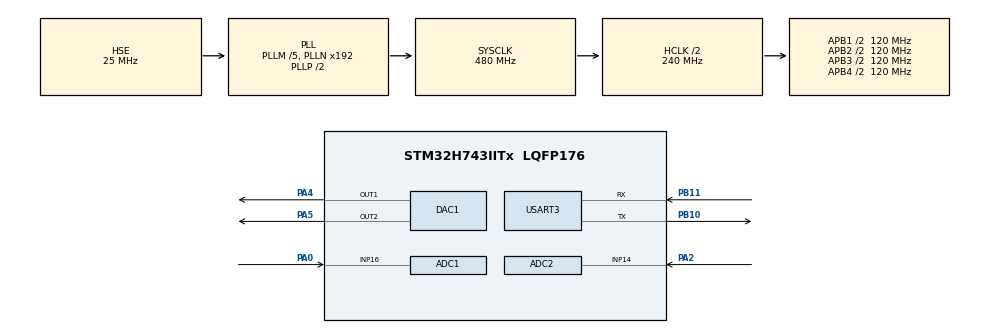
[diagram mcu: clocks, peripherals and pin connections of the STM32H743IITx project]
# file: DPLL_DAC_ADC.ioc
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ADC1.Channel-0\#ChannelRegularConversion=ADC_CHANNEL_16
ADC1.ConversionDataManagement=ADC_CONVERSIONDATA_DMA_ONESHOT
ADC1.ExternalTrigConv=ADC_EXTERNALTRIG_T3_TRGO
ADC1.NbrOfConversionFlag=1
ADC1.OffsetNumber-0\#ChannelRegularConversion=ADC_OFFSET_NONE
ADC1.OffsetSignedSaturation-0\#ChannelRegularConversion=DISABLE
ADC1.Rank-0\#ChannelRegularConversion=1
ADC1.SamplingTime-0\#ChannelRegularConversion=ADC_SAMPLETIME_1CYCLE_5
ADC1.master=1
ADC2.Channel-0\#ChannelRegularConversion=ADC_CHANNEL_14
ADC2.ConversionDataManagement=ADC_CONVERSIONDATA_DMA_ONESHOT
ADC2.ExternalTrigConv=ADC_EXTERNALTRIG_T3_TRGO
ADC2.NbrOfConversionFlag=1
ADC2.OffsetNumber-0\#ChannelRegularConversion=ADC_OFFSET_NONE
ADC2.OffsetSignedSaturation-0\#ChannelRegularConversion=DISABLE
ADC2.Rank-0\#ChannelRegularConversion=1
ADC2.SamplingTime-0\#ChannelRegularConversion=ADC_SAMPLETIME_1CYCLE_5
DAC1.DAC1_OutputBuffer-DAC_OUT1=DAC_OUTPUTBUFFER_DISABLE
DAC1.DAC2_OutputBuffer-DAC_OUT2=DAC_OUTPUTBUFFER_DISABLE
DAC1.DAC_Channel-DAC_OUT1=DAC_CHANNEL_1
DAC1.DAC_Channel-DAC_OUT2=DAC_CHANNEL_2
DAC1.DAC_Trigger-DAC_OUT1=DAC_TRIGGER_T4_TRGO
DAC1.DAC_Trigger-DAC_OUT2=DAC_TRIGGER_T4_TRGO
Dma.ADC1.0.Direction=DMA_PERIPH_TO_MEMORY
Dma.ADC1.0.EventEnable=DISABLE
Dma.ADC1.0.FIFOMode=DMA_FIFOMODE_DISABLE
Dma.ADC1.0.Instance=DMA1_Stream0
Dma.ADC1.0.MemDataAlignment=DMA_MDATAALIGN_HALFWORD
Dma.ADC1.0.MemInc=DMA_MINC_ENABLE
Dma.ADC1.0.Mode=DMA_NORMAL
Dma.ADC1.0.PeriphDataAlignment=DMA_PDATAALIGN_HALFWORD
Dma.ADC1.0.PeriphInc=DMA_PINC_DISABLE
Dma.ADC1.0.Polarity=HAL_DMAMUX_REQ_GEN_RISING
Dma.ADC1.0.Priority=DMA_PRIORITY_LOW
Dma.ADC1.0.RequestNumber=1
Dma.ADC1.0.SignalID=NONE
Dma.ADC1.0.SyncEnable=DISABLE
Dma.ADC1.0.SyncPolarity=HAL_DMAMUX_SYNC_NO_EVENT
Dma.ADC1.0.SyncRequestNumber=1
Dma.ADC1.0.SyncSignalID=NONE
Dma.ADC2.3.Direction=DMA_PERIPH_TO_MEMORY
Dma.ADC2.3.EventEnable=DISABLE
Dma.ADC2.3.FIFOMode=DMA_FIFOMODE_DISABLE
Dma.ADC2.3.Instance=DMA1_Stream2
Dma.ADC2.3.MemDataAlignment=DMA_MDATAALIGN_HALFWORD
Dma.ADC2.3.MemInc=DMA_MINC_ENABLE
Dma.ADC2.3.Mode=DMA_NORMAL
Dma.ADC2.3.PeriphDataAlignment=DMA_PDATAALIGN_HALFWORD
Dma.ADC2.3.PeriphInc=DMA_PINC_DISABLE
Dma.ADC2.3.Polarity=HAL_DMAMUX_REQ_GEN_RISING
Dma.ADC2.3.Priority=DMA_PRIORITY_LOW
Dma.ADC2.3.RequestNumber=1
Dma.ADC2.3.SignalID=NONE
Dma.ADC2.3.SyncEnable=DISABLE
Dma.ADC2.3.SyncPolarity=HAL_DMAMUX_SYNC_NO_EVENT
Dma.ADC2.3.SyncRequestNumber=1
Dma.ADC2.3.SyncSignalID=NONE
Dma.DAC1_CH1.1.Direction=DMA_MEMORY_TO_PERIPH
Dma.DAC1_CH1.1.EventEnable=DISABLE
Dma.DAC1_CH1.1.FIFOMode=DMA_FIFOMODE_DISABLE
Dma.DAC1_CH1.1.Instance=DMA1_Stream1
Dma.DAC1_CH1.1.MemDataAlignment=DMA_MDATAALIGN_HALFWORD
Dma.DAC1_CH1.1.MemInc=DMA_MINC_ENABLE
Dma.DAC1_CH1.1.Mode=DMA_CIRCULAR
Dma.DAC1_CH1.1.PeriphDataAlignment=DMA_PDATAALIGN_HALFWORD
Dma.DAC1_CH1.1.PeriphInc=DMA_PINC_DISABLE
Dma.DAC1_CH1.1.Polarity=HAL_DMAMUX_REQ_GEN_RISING
Dma.DAC1_CH1.1.Priority=DMA_PRIORITY_LOW
Dma.DAC1_CH1.1.RequestNumber=1
Dma.DAC1_CH1.1.SignalID=NONE
Dma.DAC1_CH1.1.SyncEnable=DISABLE
Dma.DAC1_CH1.1.SyncPolarity=HAL_DMAMUX_SYNC_NO_EVENT
Dma.DAC1_CH1.1.SyncRequestNumber=1
Dma.DAC1_CH1.1.SyncSignalID=NONE
Dma.DAC1_CH2.2.Direction=DMA_MEMORY_TO_PERIPH
Dma.DAC1_CH2.2.EventEnable=DISABLE
Dma.DAC1_CH2.2.FIFOMode=DMA_FIFOMODE_DISABLE
Dma.DAC1_CH2.2.Instance=DMA2_Stream1
Dma.DAC1_CH2.2.MemDataAlignment=DMA_MDATAALIGN_HALFWORD
Dma.DAC1_CH2.2.MemInc=DMA_MINC_ENABLE
Dma.DAC1_CH2.2.Mode=DMA_CIRCULAR
Dma.DAC1_CH2.2.PeriphDataAlignment=DMA_PDATAALIGN_HALFWORD
Dma.DAC1_CH2.2.PeriphInc=DMA_PINC_DISABLE
Dma.DAC1_CH2.2.Polarity=HAL_DMAMUX_REQ_GEN_RISING
Dma.DAC1_CH2.2.Priority=DMA_PRIORITY_LOW
Dma.DAC1_CH2.2.RequestNumber=1
Dma.DAC1_CH2.2.SignalID=NONE
Dma.DAC1_CH2.2.SyncEnable=DISABLE
Dma.DAC1_CH2.2.SyncPolarity=HAL_DMAMUX_SYNC_NO_EVENT
Dma.DAC1_CH2.2.SyncRequestNumber=1
Dma.DAC1_CH2.2.SyncSignalID=NONE
Dma.Request0=ADC1
Dma.Request1=DAC1_CH1
Dma.Request2=DAC1_CH2
Dma.Request3=ADC2
Mcu.Family=STM32H7
Mcu.Name=STM32H743IITx
Mcu.Package=LQFP176
NVIC.DMA1_Stream0_IRQn=true\:0\:0\:true\:false\:true\:false\:true\:true
NVIC.DMA1_Stream1_IRQn=true\:0\:0\:true\:false\:true\:false\:true\:true
NVIC.DMA1_Stream2_IRQn=true\:0\:0\:false\:false\:true\:false\:true\:true
NVIC.DMA2_Stream1_IRQn=true\:0\:0\:false\:false\:true\:false\:true\:true
NVIC.PriorityGroup=NVIC_PRIORITYGROUP_4
NVIC.TIM5_IRQn=true\:0\:0\:false\:false\:true\:true\:true\:true
PA0.Mode=IN16-Single-Ended
PA0.Signal=ADC1_INP16
PA13\ (JTMS/SWDIO).Mode=Serial_Wire
PA13\ (JTMS/SWDIO).Signal=DEBUG_JTMS-SWDIO
PA14\ (JTCK/SWCLK).Mode=Serial_Wire
PA14\ (JTCK/SWCLK).Signal=DEBUG_JTCK-SWCLK
PA2.Signal=ADCx_INP14
PA4.Signal=COMP_DAC11_group
PA5.Signal=COMP_DAC12_group
PB10.Mode=Asynchronous
PB10.Signal=USART3_TX
PB11.Mode=Asynchronous
PB11.Signal=USART3_RX
PC14-OSC32_IN\ (OSC32_IN).Mode=LSE-External-Oscillator
PC14-OSC32_IN\ (OSC32_IN).Signal=RCC_OSC32_IN
PC15-OSC32_OUT\ (OSC32_OUT).Mode=LSE-External-Oscillator
PC15-OSC32_OUT\ (OSC32_OUT).Signal=RCC_OSC32_OUT
PH0-OSC_IN\ (PH0).Mode=HSE-External-Oscillator
PH0-OSC_IN\ (PH0).Signal=RCC_OSC_IN
PH1-OSC_OUT\ (PH1).Mode=HSE-External-Oscillator
PH1-OSC_OUT\ (PH1).Signal=RCC_OSC_OUT
ProjectManager.HeapSize=0x200
ProjectManager.StackSize=0x400
ProjectManager.TargetToolchain=MDK-ARM V5.32
RCC.ADCFreq_Value=75000000
RCC.APB1Freq_Value=120000000
RCC.APB2Freq_Value=120000000
RCC.APB3Freq_Value=120000000
RCC.APB4Freq_Value=120000000
RCC.CortexFreq_Value=480000000
RCC.D1PPRE=RCC_APB3_DIV2
RCC.D2PPRE1=RCC_APB1_DIV2
RCC.D2PPRE2=RCC_APB2_DIV2
RCC.D3PPRE=RCC_APB4_DIV2
RCC.DIVM1=5
RCC.DIVM2=2
RCC.DIVN1=192
RCC.DIVN2=12
RCC.HCLKFreq_Value=240000000
RCC.HPRE=RCC_HCLK_DIV2
RCC.PLL2FRACN=0
RCC.PLL2_VCI_Range=RCC_PLL2VCIRANGE_3
RCC.PLL3FRACN=0
RCC.PLLFRACN=0
RCC.PLLSourceVirtual=RCC_PLLSOURCE_HSE
RCC.SYSCLKFreq_VALUE=480000000
RCC.SYSCLKSource=RCC_SYSCLKSOURCE_PLLCLK
RCC.USBFreq_Value=480000000
SH.ADCx_INP14.0=ADC2_INP14,IN14-Single-Ended
SH.COMP_DAC11_group.0=DAC1_OUT1,DAC_OUT1
SH.COMP_DAC12_group.0=DAC1_OUT2,DAC_OUT2
TIM3.Period=240-1
TIM3.TIM_MasterOutputTrigger=TIM_TRGO_UPDATE
TIM4.Period=80-1
TIM4.TIM_MasterOutputTrigger=TIM_TRGO_UPDATE
TIM5.Period=2400-1
TIM5.Prescaler=10000-1
USART3.VirtualMode-Asynchronous=VM_ASYNC
VP_MEMORYMAP_VS_MEMORYMAP.Mode=CurAppReg
VP_TIM3_VS_ClockSourceINT.Mode=Internal
VP_TIM4_VS_ClockSourceINT.Mode=Internal
VP_TIM5_VS_ClockSourceINT.Mode=Internal
board=custom

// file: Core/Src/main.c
/* USER CODE BEGIN Header */
  /**
    ******************************************************************************
    * @file           : main.c
    * @brief          : Main program body
    ******************************************************************************
    * @attention
    *
    * Copyright (c) 2025 STMicroelectronics.
    * All rights reserved.
    *
    * This software is licensed under terms that can be found in the LICENSE file
    * in the root directory of this software component.
    * If no LICENSE file comes with this software, it is provided AS-IS.
    *
    ******************************************************************************
    */
/* USER CODE END Header */
#include "main.h"
#include "adc.h"
#include "dac.h"
#include "dma.h"
#include "memorymap.h"
#include "tim.h"
#include "usart.h"
#include "gpio.h"

/* USER CODE BEGIN Includes */
  #include "MyFunction.h"
  #include "stdio.h"
/* USER CODE END Includes */

void SystemClock_Config(void);
void PeriphCommonClock_Config(void);

/* USER CODE BEGIN 0 */

  //数组
  extern uint32_t place1;
  extern uint32_t place2;
  extern uint32_t ctrl_word1;
  extern uint32_t ctrl_word2;
  extern uint32_t phase_word[2];
  extern uint8_t phaseFlag[2];
  extern uint16_t ADC_Buffer[ADC_LEN];
  extern Signal Wave[2];
  extern uint16_t DAC_Buffer1[WAVE_POINT];
  extern uint16_t DAC_Buffer2[WAVE_POINT];
  extern uint16_t pData1[WAVE_POINT];
  extern uint16_t pData2[WAVE_POINT];
  extern float phase[2]; //相位

  //一些标志位
  uint8_t ADC_ConvEndFlag = 0; // ADC转换完成 在HAL_ADC_ConvCpltCallback中断中置位
  uint8_t WaveTypeFlag =1; //第一次ADC检测波形
  extern DAC_HandleTypeDef hdac1;

  extern uint16_t ADC_Buffer1[ADC_LEN];
  extern uint16_t ADC_Buffer2[ADC_LEN];
/* USER CODE END 0 */

int main(void)
{

  /* MCU Configuration--------------------------------------------------------*/

  /* Reset of all peripherals, Initializes the Flash interface and the Systick. */
  HAL_Init();

  /* Configure the system clock */
  SystemClock_Config();

  /* Configure the peripherals common clocks */
  PeriphCommonClock_Config();

  /* Initialize all configured peripherals */
  MX_GPIO_Init();
  MX_DMA_Init();
  MX_ADC1_Init();
  MX_DAC1_Init();
  MX_TIM3_Init();
  MX_TIM4_Init();
  MX_USART3_UART_Init();
  MX_ADC2_Init();
  MX_TIM5_Init();
  /* USER CODE BEGIN 2 */
    HAL_TIM_Base_Start(&htim3);
    HAL_TIM_Base_Start_IT(&htim5);
    HAL_ADCEx_Calibration_Start(&hadc1, ADC_CALIB_OFFSET, ADC_SINGLE_ENDED);
    HAL_ADCEx_Calibration_Start(&hadc2, ADC_CALIB_OFFSET, ADC_SINGLE_ENDED);

    HAL_ADC_Start_DMA(&hadc1,(uint32_t*)ADC_Buffer,ADC_LEN);
    HAL_ADC_Start_DMA(&hadc2,(uint32_t*)ADC_Buffer1,ADC_LEN);

  /* USER CODE END 2 */

  /* Infinite loop */
  /* USER CODE BEGIN WHILE */
    while (1)
    {
      if(ADC_ConvEndFlag)
      {
        ADC_ConvEndFlag=0;

        if(WaveTypeFlag)
        {
          WaveTypeFlag=0;
          Signal_Separation();
          DDS_SetParameter(Wave);//设置波形参数

          HAL_DAC_Start_DMA(&hdac1, DAC_CHANNEL_1, (uint32_t*)pData1,  WAVE_POINT, DAC_ALIGN_12B_R);//使能DAC
          HAL_DAC_Start_DMA(&hdac1, DAC_CHANNEL_2, (uint32_t*)pData2,  WAVE_POINT, DAC_ALIGN_12B_R);//使能DAC
          HAL_TIM_Base_Start(&htim4);
        }
        else
        {

          //FFT 测两个相位 做差
          //记录上一次的差 比较
          GetPhase();

          //计算频率
          GetFreq();
          ctrl_word1=Wave[0].Freq*OF;//频率控制字
          ctrl_word2=Wave[1].Freq*OF;//频率控制字

        }

      }
    /* USER CODE END WHILE */

    }
}

void SystemClock_Config(void)
{
  RCC_OscInitTypeDef RCC_OscInitStruct = {0};
  RCC_ClkInitTypeDef RCC_ClkInitStruct = {0};

  /** Supply configuration update enable
  */
  HAL_PWREx_ConfigSupply(PWR_LDO_SUPPLY);

  /** Configure the main internal regulator output voltage
  */
  __HAL_PWR_VOLTAGESCALING_CONFIG(PWR_REGULATOR_VOLTAGE_SCALE1);

  while(!__HAL_PWR_GET_FLAG(PWR_FLAG_VOSRDY)) {}

  __HAL_RCC_SYSCFG_CLK_ENABLE();
  __HAL_PWR_VOLTAGESCALING_CONFIG(PWR_REGULATOR_VOLTAGE_SCALE0);

  while(!__HAL_PWR_GET_FLAG(PWR_FLAG_VOSRDY)) {}

  /** Initializes the RCC Oscillators according to the specified parameters
  * in the RCC_OscInitTypeDef structure.
  */
  RCC_OscInitStruct.OscillatorType = RCC_OSCILLATORTYPE_HSE;
  RCC_OscInitStruct.HSEState = RCC_HSE_ON;
  RCC_OscInitStruct.PLL.PLLState = RCC_PLL_ON;
  RCC_OscInitStruct.PLL.PLLSource = RCC_PLLSOURCE_HSE;
  RCC_OscInitStruct.PLL.PLLM = 5;
  RCC_OscInitStruct.PLL.PLLN = 192;
  RCC_OscInitStruct.PLL.PLLP = 2;
  RCC_OscInitStruct.PLL.PLLQ = 2;
  RCC_OscInitStruct.PLL.PLLR = 2;
  RCC_OscInitStruct.PLL.PLLRGE = RCC_PLL1VCIRANGE_2;
  RCC_OscInitStruct.PLL.PLLVCOSEL = RCC_PLL1VCOWIDE;
  RCC_OscInitStruct.PLL.PLLFRACN = 0;
  if (HAL_RCC_OscConfig(&RCC_OscInitStruct) != HAL_OK)
  {
    Error_Handler();
  }

  /** Initializes the CPU, AHB and APB buses clocks
  */
  RCC_ClkInitStruct.ClockType = RCC_CLOCKTYPE_HCLK|RCC_CLOCKTYPE_SYSCLK
                              |RCC_CLOCKTYPE_PCLK1|RCC_CLOCKTYPE_PCLK2
                              |RCC_CLOCKTYPE_D3PCLK1|RCC_CLOCKTYPE_D1PCLK1;
  RCC_ClkInitStruct.SYSCLKSource = RCC_SYSCLKSOURCE_PLLCLK;
  RCC_ClkInitStruct.SYSCLKDivider = RCC_SYSCLK_DIV1;
  RCC_ClkInitStruct.AHBCLKDivider = RCC_HCLK_DIV2;
  RCC_ClkInitStruct.APB3CLKDivider = RCC_APB3_DIV2;
  RCC_ClkInitStruct.APB1CLKDivider = RCC_APB1_DIV2;
  RCC_ClkInitStruct.APB2CLKDivider = RCC_APB2_DIV2;
  RCC_ClkInitStruct.APB4CLKDivider = RCC_APB4_DIV2;

  if (HAL_RCC_ClockConfig(&RCC_ClkInitStruct, FLASH_LATENCY_4) != HAL_OK)
  {
    Error_Handler();
  }
}

void PeriphCommonClock_Config(void)
{
  RCC_PeriphCLKInitTypeDef PeriphClkInitStruct = {0};

  /** Initializes the peripherals clock
  */
  PeriphClkInitStruct.PeriphClockSelection = RCC_PERIPHCLK_ADC;
  PeriphClkInitStruct.PLL2.PLL2M = 2;
  PeriphClkInitStruct.PLL2.PLL2N = 12;
  PeriphClkInitStruct.PLL2.PLL2P = 2;
  PeriphClkInitStruct.PLL2.PLL2Q = 2;
  PeriphClkInitStruct.PLL2.PLL2R = 2;
  PeriphClkInitStruct.PLL2.PLL2RGE = RCC_PLL2VCIRANGE_3;
  PeriphClkInitStruct.PLL2.PLL2VCOSEL = RCC_PLL2VCOMEDIUM;
  PeriphClkInitStruct.PLL2.PLL2FRACN = 0;
  PeriphClkInitStruct.AdcClockSelection = RCC_ADCCLKSOURCE_PLL2;
  if (HAL_RCCEx_PeriphCLKConfig(&PeriphClkInitStruct) != HAL_OK)
  {
    Error_Handler();
  }
}

/* USER CODE BEGIN 4 */
  void HAL_ADC_ConvCpltCallback(ADC_HandleTypeDef *hadc)
  {
  if (hadc==&hadc1)
    {
      UNUSED(hadc);
      HAL_ADC_Stop(hadc);
      ADC_ConvEndFlag = 1;
    }
  }

  void HAL_DAC_ConvHalfCpltCallbackCh1(DAC_HandleTypeDef *hdac)
  {
    for(uint16_t i=0;i<WAVE_POINT/2;i++)
    {
      pData1[i]=DAC_Buffer1[place1>>21];
      pData2[i]=DAC_Buffer2[place2>>21];
      place1+=ctrl_word1;
      place2+=ctrl_word2;
    }

  }

  void HAL_DAC_ConvCpltCallbackCh1(DAC_HandleTypeDef *hdac)
  {
    for(uint16_t i=WAVE_POINT/2;i<WAVE_POINT;i++)
    {
      pData1[i]=DAC_Buffer1[place1>>21];
      pData2[i]=DAC_Buffer2[place2>>21];
      place1+=ctrl_word1;
      place2+=ctrl_word2;
    }

  }

void HAL_TIM_PeriodElapsedCallback(TIM_HandleTypeDef *htim)
{
  if(htim->Instance==TIM5)
  {
   	HAL_ADC_Start_DMA(&hadc1,(uint32_t*)ADC_Buffer,ADC_LEN);
    HAL_ADC_Start_DMA(&hadc2,(uint32_t*)ADC_Buffer1,ADC_LEN);
  }

}

/* USER CODE END 4 */

void Error_Handler(void)
{
    __disable_irq();
    while (1)
    {
    }
}
